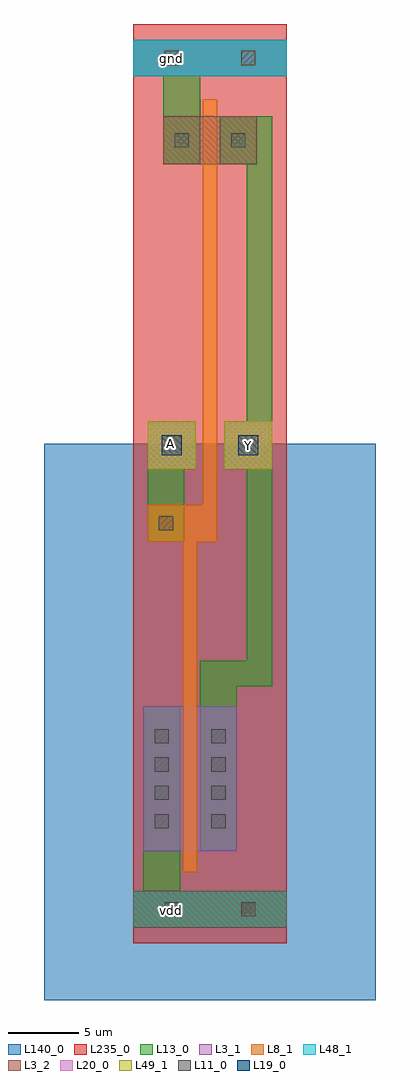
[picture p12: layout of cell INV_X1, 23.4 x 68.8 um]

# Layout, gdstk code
import gdstk
lib = gdstk.Library(unit=1e-6, precision=1e-09)
def R(c, l, rs):  # rectangles x0, y0, x1, y1
    for r in rs: c.add(gdstk.rectangle(r[:2], r[2:], *l))
def A(c, l, x, y, w, h, nx, ny, dx, dy):  # array of equal rectangles
    R(c, l, [(x+i*dx, y+j*dy, x+i*dx+w, y+j*dy+h) for i in range(nx) for j in range(ny)])
def P(c, l, *ps):  # polygons
    for p in ps: c.add(gdstk.Polygon(p, *l))
L3_1 = (3, 1)
L3_2 = (3, 2)
L8_1 = (8, 1)
L11_0 = (11, 0)
L13_0 = (13, 0)
L19_0 = (19, 0)
L20_0 = (20, 0)
L48_1 = (48, 1)
L49_1 = (49, 1)
L140_0 = (140, 0)
L235_0 = (235, 0)

inv_x1 = lib.new_cell('INV_X1')
R(inv_x1, L3_1, [(0.7,-58.3,7.3,-48.1), (0,-3.7,10.8,-1.1)])
R(inv_x1, L3_2, [(0,-63.7,10.8,-61.1), (2.1,-9.9,8.7,-6.5)])
P(inv_x1, L8_1, [(3.5,-59.8),(3.5,-36.5),(1,-36.5),(1,-33.9),(4.9,-33.9),(4.9,-5.3),(5.9,-5.3),(5.9,-36.5),(4.5,-36.5),(4.5,-59.8)])
A(inv_x1, L11_0, 1.5, -56.7, 1, 1, 1, 4, 0, 2)
A(inv_x1, L11_0, 5.5, -56.7, 1, 1, 1, 4, 0, 2)
R(inv_x1, L11_0, [(2.2,-62.9,3.2,-61.9), (2.2,-62.9,3.2,-61.9), (7.6,-62.9,8.6,-61.9), (7.6,-62.9,8.6,-61.9), (7.6,-62.9,8.6,-61.9), (7.6,-62.9,8.6,-61.9), (1.8,-35.7,2.8,-34.7), (2.9,-8.7,3.9,-7.7), (6.9,-8.7,7.9,-7.7), (2.2,-2.9,3.2,-1.9), (7.6,-2.9,8.6,-1.9), (7.6,-2.9,8.6,-1.9)])
R(inv_x1, L13_0, [(0,-63.7,10.8,-61.1), (0.7,-61.1,3.3,-48.1), (1,-36.5,3.6,-31.4), (1,-31.4,4.4,-28), (1,-31.4,4.4,-28), (6.4,-31.4,9.8,-28), (2.1,-9.9,4.7,-3.7), (0,-3.7,10.8,-1.1)])
P(inv_x1, L13_0, [(4.7,-58.3),(4.7,-44.9),(8,-44.9),(8,-31.4),(6.4,-31.4),(6.4,-28),(8,-28),(8,-9.9),(6.1,-9.9),(6.1,-6.5),(9.8,-6.5),(9.8,-46.7),(7.3,-46.7),(7.3,-58.3)])
R(inv_x1, L19_0, [(2,-30.4,3.4,-29), (7.4,-30.4,8.8,-29)])
R(inv_x1, L20_0, [(1,-31.4,4.4,-28), (6.4,-31.4,9.8,-28)])
R(inv_x1, L48_1, [(0,-63.7,10.8,-61.1), (0,-3.7,10.8,-1.1)])
R(inv_x1, L49_1, [(1,-31.4,4.4,-28), (6.4,-31.4,9.8,-28)])
R(inv_x1, L140_0, [(-6.3,-68.8,17.1,-29.6)])
R(inv_x1, L235_0, [(0,-64.8,10.8,0)])
inv_x1.add(gdstk.Label('gnd', (2.7,-2.4), layer=48, texttype=0))
inv_x1.add(gdstk.Label('vdd', (2.7,-62.5), layer=48, texttype=0))
inv_x1.add(gdstk.Label('Y', (8.1,-29.7), layer=49, texttype=0))
inv_x1.add(gdstk.Label('A', (2.6,-29.6), layer=49, texttype=0))

lib.write_gds('INV_X1.gds')
